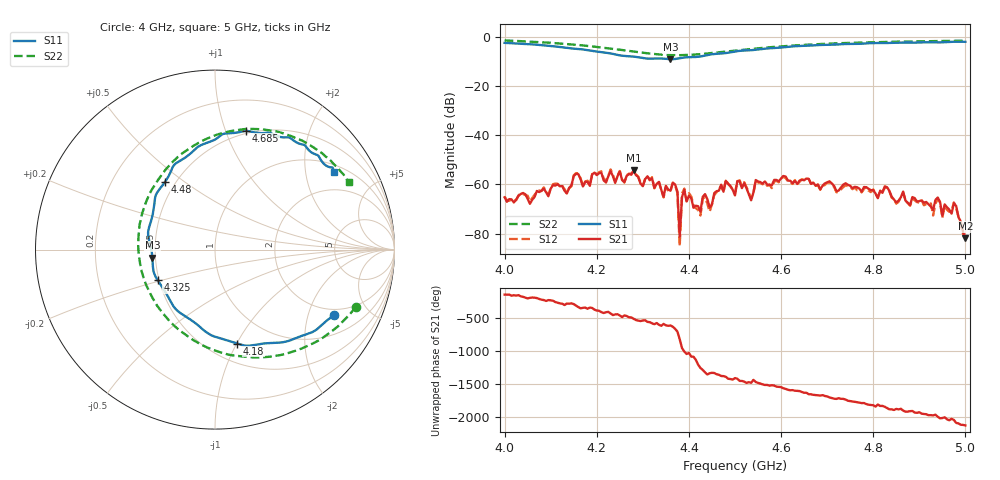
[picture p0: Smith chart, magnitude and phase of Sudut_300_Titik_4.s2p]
# Hz S RI R 50
! CMT, C1220, 16058040, 17.2.0/1
! Date: 15/08/2018 12:34:04
! Data: Format (Calibration Info)
! Freq  S11: Re/Im (F2)  S21: Re/Im (F2)  S12: Re/Im (F2)  S22: Re/Im (F2)
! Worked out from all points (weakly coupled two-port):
!   201 points, 4 GHz to 5 GHz, reference 50 ohm
!   highest |S21| = -54.33 dB at 4.28 GHz (marker M1); lowest = -82.0 dB at 5 GHz (marker M2)
!   lowest |S11| = -9.1 dB at 4.36 GHz (marker M3), VSWR 2.08, Z = 24.1 - j2.45 ohm
!   |S11| at or under -10 dB: nowhere
!   |S22| runs from -7.4 to -1.5 dB; largest |S21 - S12| = 0.00016
!   S11 on the Smith chart (normalised r, x): 4 GHz: 1.73, -2.94; 4.18 GHz: 0.68, -1.01; 4.325 GHz: 0.49, -0.19; 4.48 GHz: 0.44, +0.42; 4.685 GHz: 0.47, +1.18; 5 GHz: 1.23, +2.88
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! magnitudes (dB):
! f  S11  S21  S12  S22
! 4 GHz  -2.4  -65.3  -65.1  -1.5
! 4.17 GHz  -5.1  -60.9  -60.8  -3.5
! 4.18 GHz  -5.4  -59.0  -58.6  -3.7
! 4.28 GHz  -8.0  -54.3  -54.5  -6.0
! 4.325 GHz  -8.8  -61.4  -61.6  -6.9
! 4.335 GHz  -8.8  -59.0  -59.2  -7.1
! 4.36 GHz  -9.1  -62.6  -62.7  -7.4
! 4.375 GHz  -8.9  -62.9  -63.5  -7.4
! 4.38 GHz  -8.7  -81.3  -85.2  -7.4
! 4.385 GHz  -8.5  -65.1  -63.8  -7.4
! 4.39 GHz  -8.4  -62.3  -61.7  -7.4
! 4.425 GHz  -8.0  -71.1  -72.7  -7.0
! 4.48 GHz  -6.6  -58.5  -58.1  -6.0
! 4.5 GHz  -6.0  -64.5  -63.4  -5.6
! 4.67 GHz  -3.4  -59.3  -59.3  -3.1
! 4.685 GHz  -3.3  -62.0  -62.2  -2.9
! 4.835 GHz  -2.5  -62.7  -62.8  -2.0
! 4.93 GHz  -2.2  -70.4  -72.7  -1.7
! 4.94 GHz  -2.3  -65.4  -66.1  -1.7
! 4.95 GHz  -2.2  -72.8  -73.6  -1.7
! 4.975 GHz  -2.0  -67.6  -67.4  -1.6
! 5 GHz  -2.0  -82.0  -80.5  -1.6
